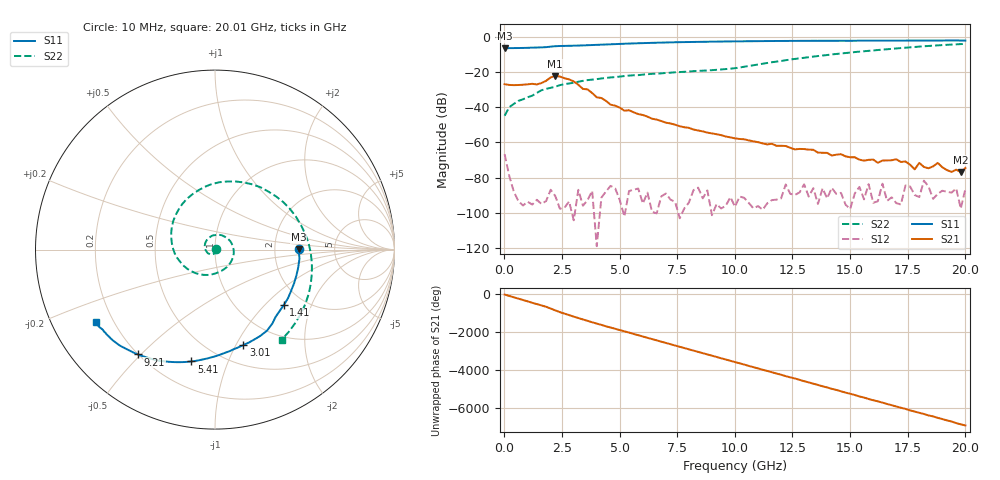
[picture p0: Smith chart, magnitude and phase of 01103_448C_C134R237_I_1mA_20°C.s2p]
!;Filter: kein Filter
!auto
!3/21/2019 9:26:39 AM
!3/21/2019 9:26:51 AM
!SP-Measurements Prober G4
!SP-Measurements Prober G4
!134
!237
!12
!20
!-20
!0.00099996
!1.65
!0.05816927
!0.05816927
# Hz S  RI  R 50
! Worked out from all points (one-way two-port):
!   101 points, 10 MHz to 20.01 GHz, reference 50 ohm
!   highest |S21| = -22.34 dB at 2.21 GHz (marker M1); lowest = -76.8 dB at 19.81 GHz (marker M2)
!   lowest |S11| = -6.6 dB at 10 MHz (marker M3), VSWR 2.74, Z = 137 + j0.94 ohm
!   |S11| at or under -10 dB: nowhere
!   |S22| runs from -44.9 to -4.1 dB; largest |S21 - S12| = 0.076
!   S11 on the Smith chart (normalised r, x): 10 MHz: 2.74, +0.02; 1.41 GHz: 1.59, -1.30; 3.01 GHz: 0.70, -1.07; 5.41 GHz: 0.36, -0.75; 9.21 GHz: 0.20, -0.49; 20.01 GHz: 0.14, -0.28
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1e7  0.4652 0.00269  0.0415 -0.017  0.000455 -9.81e-05  0.00544 0.00166
2.1e8  0.4708 -0.05  -0.00407 -0.0425  0.00011 2.78e-05  0.00883 -0.00467
1.41e9  0.3824 -0.3099  -0.0425 -0.0121  -8.55e-06 -2.19e-05  -0.0076 -0.0243
2.01e9  0.3193 -0.4121  0.0556 -0.0423  -3.24e-05 3.17e-05  -0.023 -0.0269
2.21e9  0.2899 -0.4513  -0.0519 -0.0561  2.04e-05 -2.2e-05  -0.0289 -0.0247
2.41e9  0.2524 -0.4811  -0.0512 0.0533  -1.15e-05 6.35e-06  -0.0357 -0.0223
3.01e9  0.1583 -0.5316  -0.0112 -0.0523  4.75e-06 -3.92e-06  -0.0486 -0.00876
3.41e9  0.105 -0.5548  -0.0107 0.0311  -2.09e-06 -1.58e-05  -0.0556 0.00481
5.41e9  -0.1317 -0.6232  -0.00652 0.00494  -3.96e-05 -1.29e-05  -0.0173 0.0767
6.81e9  -0.2653 -0.6244  0.00371 0.00159  -2.28e-05 1.84e-05  0.0588 0.0694
9.21e9  -0.4288 -0.5843  0.00088 -0.00146  -1.44e-05 1.03e-05  0.0789 -0.0834
1.001e10  -0.4677 -0.5669  0.0011 0.000702  1.49e-05 1.5e-06  0.0188 -0.1263
1.341e10  -0.5816 -0.4955  0.000568 -0.000241  -1.99e-05 4.64e-05  -0.2403 0.127
1.541e10  -0.6167 -0.4591  0.000284 0.000156  2.27e-05 -4.96e-05  0.0247 0.3753
1.681e10  -0.6316 -0.4417  0.000112 -0.00029  -2.57e-05 1.02e-05  0.3396 0.2966
1.741e10  -0.6392 -0.4358  -2.42e-05 0.000286  -5.66e-05 2.04e-05  0.451 0.1832
1.781e10  -0.6451 -0.4309  0.000121 -0.000122  2.2e-05 -2.33e-05  0.5021 0.0884
1.801e10  -0.646 -0.4275  -9.05e-05 -0.000245  7.19e-07 -2.81e-05  0.5211 0.0371
1.841e10  -0.6517 -0.4231  -6.56e-05 0.000172  5.24e-05 -1.89e-05  0.5397 -0.0747
1.881e10  -0.6561 -0.4183  0.000253 -6.68e-05  2.25e-05 2.63e-05  0.5342 -0.1882
1.981e10  -0.6634 -0.405  0.000144 1.01e-05  1.01e-05 -8.56e-06  0.4128 -0.4562
2.001e10  -0.6612 -0.4043  0.000111 -0.000151  -4.22e-05 -2.33e-05  0.3707 -0.5031
